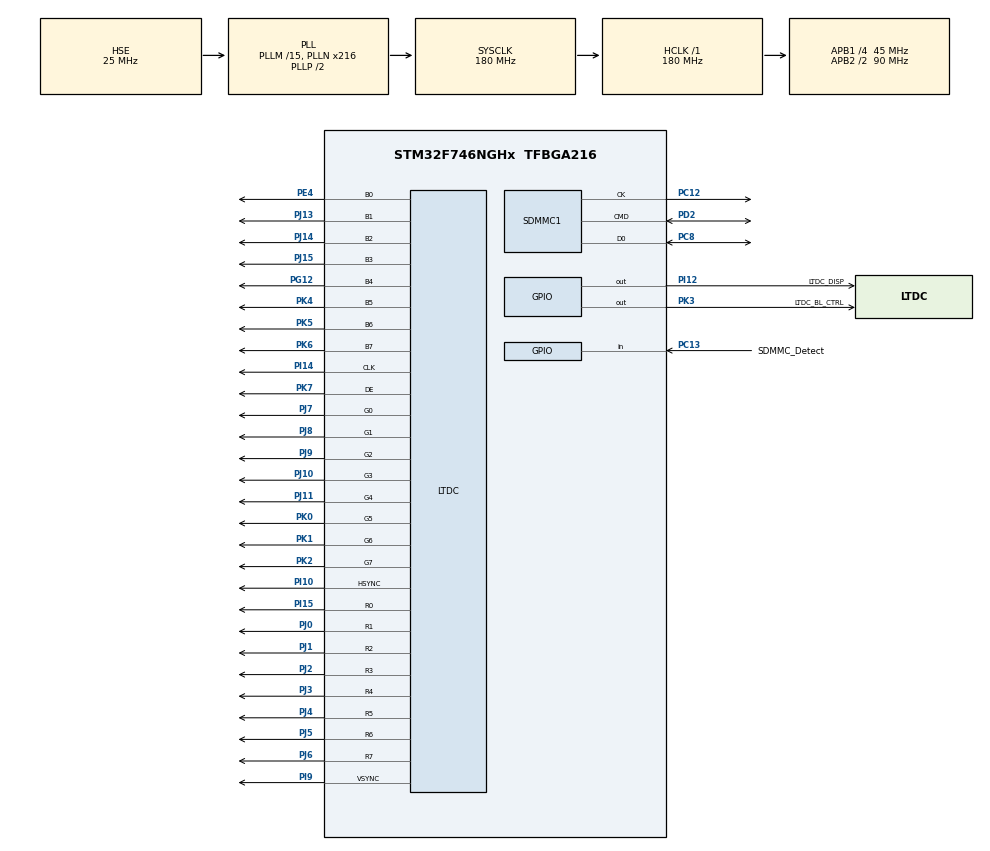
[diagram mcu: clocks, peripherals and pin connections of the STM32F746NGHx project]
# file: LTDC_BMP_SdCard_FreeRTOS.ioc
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Dma.Request0=SDMMC1_RX
Dma.Request1=SDMMC1_TX
Dma.SDMMC1_RX.0.Direction=DMA_PERIPH_TO_MEMORY
Dma.SDMMC1_RX.0.FIFOMode=DMA_FIFOMODE_ENABLE
Dma.SDMMC1_RX.0.FIFOThreshold=DMA_FIFO_THRESHOLD_FULL
Dma.SDMMC1_RX.0.Instance=DMA2_Stream3
Dma.SDMMC1_RX.0.MemBurst=DMA_MBURST_INC4
Dma.SDMMC1_RX.0.MemDataAlignment=DMA_MDATAALIGN_WORD
Dma.SDMMC1_RX.0.MemInc=DMA_MINC_ENABLE
Dma.SDMMC1_RX.0.Mode=DMA_PFCTRL
Dma.SDMMC1_RX.0.PeriphBurst=DMA_PBURST_INC4
Dma.SDMMC1_RX.0.PeriphDataAlignment=DMA_PDATAALIGN_WORD
Dma.SDMMC1_RX.0.PeriphInc=DMA_PINC_DISABLE
Dma.SDMMC1_RX.0.Priority=DMA_PRIORITY_LOW
Dma.SDMMC1_TX.1.Direction=DMA_MEMORY_TO_PERIPH
Dma.SDMMC1_TX.1.FIFOMode=DMA_FIFOMODE_ENABLE
Dma.SDMMC1_TX.1.FIFOThreshold=DMA_FIFO_THRESHOLD_FULL
Dma.SDMMC1_TX.1.Instance=DMA2_Stream6
Dma.SDMMC1_TX.1.MemBurst=DMA_MBURST_INC4
Dma.SDMMC1_TX.1.MemDataAlignment=DMA_MDATAALIGN_WORD
Dma.SDMMC1_TX.1.MemInc=DMA_MINC_ENABLE
Dma.SDMMC1_TX.1.Mode=DMA_PFCTRL
Dma.SDMMC1_TX.1.PeriphBurst=DMA_PBURST_INC4
Dma.SDMMC1_TX.1.PeriphDataAlignment=DMA_PDATAALIGN_WORD
Dma.SDMMC1_TX.1.PeriphInc=DMA_PINC_DISABLE
Dma.SDMMC1_TX.1.Priority=DMA_PRIORITY_LOW
FATFS.BSP.number=1
FATFS.USE_DMA_CODE_SD=1
FATFS._MAX_SS=4096
FATFS0.BSP.STBoard=false
FATFS0.BSP.api=Unknown
FATFS0.BSP.instance=PC13
FATFS0.BSP.ip=GPIO
FATFS0.BSP.mode=Input
FATFS0.BSP.name=Detect_SDIO
FATFS0.BSP.solution=PC13
FREERTOS.Tasks01=defaultTask,0,1024,StartDefaultTask,Default,NULL,Dynamic,NULL,NULL
FREERTOS.configUSE_NEWLIB_REENTRANT=1
LTDC.ActiveH=272
LTDC.ActiveW=480
LTDC.Alpha_L0=255
LTDC.HBP=13
LTDC.HFP=32
LTDC.HSync=41
LTDC.ImageHeight_L0=272
LTDC.ImageWidth_L0=480
LTDC.Layers=0
LTDC.PixelFormat_L0=LTDC_PIXEL_FORMAT_RGB565
LTDC.VSync=10
LTDC.WindowX1_L0=480
LTDC.WindowY1_L0=272
Mcu.Family=STM32F7
Mcu.Name=STM32F746NGHx
Mcu.Package=TFBGA216
NVIC.DMA2_Stream3_IRQn=true\:5\:0\:false\:false\:true\:true\:false\:true\:true
NVIC.DMA2_Stream6_IRQn=true\:5\:0\:false\:false\:true\:true\:false\:true\:true
NVIC.PriorityGroup=NVIC_PRIORITYGROUP_4
NVIC.SDMMC1_IRQn=true\:5\:0\:false\:false\:true\:true\:true\:true\:true
NVIC.TIM8_TRG_COM_TIM14_IRQn=true\:15\:0\:false\:false\:true\:false\:false\:true\:true
NVIC.TimeBase=TIM8_TRG_COM_TIM14_IRQn
NVIC.TimeBaseIP=TIM14
PA13.Mode=Trace_Asynchronous_SW
PA13.Signal=SYS_JTMS-SWDIO
PA14.Mode=Trace_Asynchronous_SW
PA14.Signal=SYS_JTCK-SWCLK
PB3.Mode=Trace_Asynchronous_SW
PB3.Signal=SYS_JTDO-SWO
PC12.Mode=SD_1_bit
PC12.Signal=SDMMC1_CK
PC13.GPIO_Label=SDMMC_Detect
PC13.Signal=GPIO_Input
PC8.Mode=SD_1_bit
PC8.Signal=SDMMC1_D0
PD2.Mode=SD_1_bit
PD2.Signal=SDMMC1_CMD
PE4.GPIO_Speed=GPIO_SPEED_FREQ_HIGH
PE4.Mode=RGB888
PE4.Signal=LTDC_B0
PG12.GPIO_Speed=GPIO_SPEED_FREQ_HIGH
PG12.Mode=RGB888
PG12.Signal=LTDC_B4
PH0/OSC_IN.Mode=HSE-External-Oscillator
PH0/OSC_IN.Signal=RCC_OSC_IN
PH1/OSC_OUT.Mode=HSE-External-Oscillator
PH1/OSC_OUT.Signal=RCC_OSC_OUT
PI10.GPIO_Speed=GPIO_SPEED_FREQ_HIGH
PI10.Mode=RGB888
PI10.Signal=LTDC_HSYNC
PI12.GPIO_Label=LTDC_DISP
PI12.PinState=GPIO_PIN_SET
PI12.Signal=GPIO_Output
PI14.GPIO_Speed=GPIO_SPEED_FREQ_HIGH
PI14.Mode=RGB888
PI14.Signal=LTDC_CLK
PI15.GPIO_Speed=GPIO_SPEED_FREQ_HIGH
PI15.Mode=RGB888
PI15.Signal=LTDC_R0
PI9.GPIO_Speed=GPIO_SPEED_FREQ_HIGH
PI9.Mode=RGB888
PI9.Signal=LTDC_VSYNC
PJ0.GPIO_Speed=GPIO_SPEED_FREQ_HIGH
PJ0.Mode=RGB888
PJ0.Signal=LTDC_R1
PJ1.GPIO_Speed=GPIO_SPEED_FREQ_HIGH
PJ1.Mode=RGB888
PJ1.Signal=LTDC_R2
PJ10.GPIO_Speed=GPIO_SPEED_FREQ_HIGH
PJ10.Mode=RGB888
PJ10.Signal=LTDC_G3
PJ11.GPIO_Speed=GPIO_SPEED_FREQ_HIGH
PJ11.Mode=RGB888
PJ11.Signal=LTDC_G4
PJ13.GPIO_Speed=GPIO_SPEED_FREQ_HIGH
PJ13.Mode=RGB888
PJ13.Signal=LTDC_B1
PJ14.GPIO_Speed=GPIO_SPEED_FREQ_HIGH
PJ14.Mode=RGB888
PJ14.Signal=LTDC_B2
PJ15.GPIO_Speed=GPIO_SPEED_FREQ_HIGH
PJ15.Mode=RGB888
PJ15.Signal=LTDC_B3
PJ2.GPIO_Speed=GPIO_SPEED_FREQ_HIGH
PJ2.Mode=RGB888
PJ2.Signal=LTDC_R3
PJ3.GPIO_Speed=GPIO_SPEED_FREQ_HIGH
PJ3.Mode=RGB888
PJ3.Signal=LTDC_R4
PJ4.GPIO_Speed=GPIO_SPEED_FREQ_HIGH
PJ4.Mode=RGB888
PJ4.Signal=LTDC_R5
PJ5.GPIO_Speed=GPIO_SPEED_FREQ_HIGH
PJ5.Mode=RGB888
PJ5.Signal=LTDC_R6
PJ6.GPIO_Speed=GPIO_SPEED_FREQ_HIGH
PJ6.Mode=RGB888
PJ6.Signal=LTDC_R7
PJ7.GPIO_Speed=GPIO_SPEED_FREQ_HIGH
PJ7.Mode=RGB888
PJ7.Signal=LTDC_G0
PJ8.GPIO_Speed=GPIO_SPEED_FREQ_HIGH
PJ8.Mode=RGB888
PJ8.Signal=LTDC_G1
PJ9.GPIO_Speed=GPIO_SPEED_FREQ_HIGH
PJ9.Mode=RGB888
PJ9.Signal=LTDC_G2
PK0.GPIO_Speed=GPIO_SPEED_FREQ_HIGH
PK0.Mode=RGB888
PK0.Signal=LTDC_G5
PK1.GPIO_Speed=GPIO_SPEED_FREQ_HIGH
PK1.Mode=RGB888
PK1.Signal=LTDC_G6
PK2.GPIO_Speed=GPIO_SPEED_FREQ_HIGH
PK2.Mode=RGB888
PK2.Signal=LTDC_G7
PK3.GPIO_Label=LTDC_BL_CTRL
PK3.PinState=GPIO_PIN_SET
PK3.Signal=GPIO_Output
PK4.GPIO_Speed=GPIO_SPEED_FREQ_HIGH
PK4.Mode=RGB888
PK4.Signal=LTDC_B5
PK5.GPIO_Speed=GPIO_SPEED_FREQ_HIGH
PK5.Mode=RGB888
PK5.Signal=LTDC_B6
PK6.GPIO_Speed=GPIO_SPEED_FREQ_HIGH
PK6.Mode=RGB888
PK6.Signal=LTDC_B7
PK7.GPIO_Speed=GPIO_SPEED_FREQ_HIGH
PK7.Mode=RGB888
PK7.Signal=LTDC_DE
ProjectManager.HeapSize=0x200
ProjectManager.StackSize=0x400
ProjectManager.TargetToolchain=STM32CubeIDE
RCC.AHBFreq_Value=180000000
RCC.APB1CLKDivider=RCC_HCLK_DIV4
RCC.APB1Freq_Value=45000000
RCC.APB1TimFreq_Value=90000000
RCC.APB2CLKDivider=RCC_HCLK_DIV2
RCC.APB2Freq_Value=90000000
RCC.APB2TimFreq_Value=180000000
RCC.CortexFreq_Value=180000000
RCC.HCLKFreq_Value=180000000
RCC.HSE_VALUE=25000000
RCC.HSI_VALUE=16000000
RCC.LSE_VALUE=32768
RCC.PLLM=15
RCC.PLLN=216
RCC.PLLQ=8
RCC.PLLSAIN=60
RCC.PLLSAIR=5
RCC.PLLSourceVirtual=RCC_PLLSOURCE_HSE
RCC.SDMMCClockSelection=RCC_SDMMC1CLKSOURCE_CLK48
RCC.SYSCLKFreq_VALUE=180000000
RCC.SYSCLKSource=RCC_SYSCLKSOURCE_PLLCLK
RCC.USBFreq_Value=45000000
RCC.VCOOutputFreq_Value=360000000
VP_FATFS_VS_SDIO.Mode=SDIO
VP_FREERTOS_VS_CMSIS_V1.Mode=CMSIS_V1
VP_RNG_VS_RNG.Mode=RNG_Activate
VP_SYS_VS_tim14.Mode=TIM14
board=custom

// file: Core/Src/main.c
/* USER CODE BEGIN Header */
/**
  ******************************************************************************
  * @file           : main.c
  * @brief          : Main program body
  ******************************************************************************
  * @attention
  *
  * Copyright (c) 2025 STMicroelectronics.
  * All rights reserved.
  *
  * This software is licensed under terms that can be found in the LICENSE file
  * in the root directory of this software component.
  * If no LICENSE file comes with this software, it is provided AS-IS.
  *
  ******************************************************************************
  */
/* USER CODE END Header */
#include "main.h"
#include "cmsis_os.h"
#include "dma.h"
#include "fatfs.h"
#include "ltdc.h"
#include "rng.h"
#include "sdmmc.h"
#include "gpio.h"

/* USER CODE BEGIN Includes */
#include "MyTFT.h"
#include "SDCard_Configuration.h"
//#include "testImage.h"
/* USER CODE END Includes */

/* USER CODE BEGIN PD */
uint8_t  Debug = 0;
/* USER CODE END PD */

/* USER CODE BEGIN PV */
extern uint16_t imageBuffer[480 * 272];
/* USER CODE END PV */

void SystemClock_Config(void);
void MX_FREERTOS_Init(void);
/* USER CODE BEGIN PFP */
void testLTDC(void);
void testSdCard(void);
void testImage_Show(void);
/* USER CODE END PFP */

/* USER CODE BEGIN 0 */
int _write(int file, char *ptr, int len)
{
	int i = 0;
	for(i = 0; i < len; i++)
	{
		ITM_SendChar(*ptr++);
	}
	return len;
}
/* USER CODE END 0 */

int main(void)
{

  /* MCU Configuration--------------------------------------------------------*/

  /* Reset of all peripherals, Initializes the Flash interface and the Systick. */
  HAL_Init();

  /* Configure the system clock */
  SystemClock_Config();

  /* Initialize all configured peripherals */
  MX_GPIO_Init();
  MX_DMA_Init();
  MX_LTDC_Init();
  MX_SDMMC1_SD_Init();
  MX_FATFS_Init();
  MX_RNG_Init();
  /* USER CODE BEGIN 2 */
  HAL_LTDC_SetAddress(&hltdc, (uint32_t)&imageBuffer, 0);
  TFT_FillScreen((uint32_t)0x0000);
  /* USER CODE END 2 */

  /* Call init function for freertos objects (in cmsis_os2.c) */
  MX_FREERTOS_Init();

  /* Start scheduler */
  osKernelStart();

  /* We should never get here as control is now taken by the scheduler */

  /* Infinite loop */
  while (1)
  {

  }
}

void SystemClock_Config(void)
{
  RCC_OscInitTypeDef RCC_OscInitStruct = {0};
  RCC_ClkInitTypeDef RCC_ClkInitStruct = {0};

  /** Configure the main internal regulator output voltage
  */
  __HAL_RCC_PWR_CLK_ENABLE();
  __HAL_PWR_VOLTAGESCALING_CONFIG(PWR_REGULATOR_VOLTAGE_SCALE1);

  /** Initializes the RCC Oscillators according to the specified parameters
  * in the RCC_OscInitTypeDef structure.
  */
  RCC_OscInitStruct.OscillatorType = RCC_OSCILLATORTYPE_HSE;
  RCC_OscInitStruct.HSEState = RCC_HSE_ON;
  RCC_OscInitStruct.PLL.PLLState = RCC_PLL_ON;
  RCC_OscInitStruct.PLL.PLLSource = RCC_PLLSOURCE_HSE;
  RCC_OscInitStruct.PLL.PLLM = 15;
  RCC_OscInitStruct.PLL.PLLN = 216;
  RCC_OscInitStruct.PLL.PLLP = RCC_PLLP_DIV2;
  RCC_OscInitStruct.PLL.PLLQ = 8;
  if (HAL_RCC_OscConfig(&RCC_OscInitStruct) != HAL_OK)
  {
    Error_Handler();
  }

  /** Initializes the CPU, AHB and APB buses clocks
  */
  RCC_ClkInitStruct.ClockType = RCC_CLOCKTYPE_HCLK|RCC_CLOCKTYPE_SYSCLK
                              |RCC_CLOCKTYPE_PCLK1|RCC_CLOCKTYPE_PCLK2;
  RCC_ClkInitStruct.SYSCLKSource = RCC_SYSCLKSOURCE_PLLCLK;
  RCC_ClkInitStruct.AHBCLKDivider = RCC_SYSCLK_DIV1;
  RCC_ClkInitStruct.APB1CLKDivider = RCC_HCLK_DIV4;
  RCC_ClkInitStruct.APB2CLKDivider = RCC_HCLK_DIV2;

  if (HAL_RCC_ClockConfig(&RCC_ClkInitStruct, FLASH_LATENCY_5) != HAL_OK)
  {
    Error_Handler();
  }
}

/* USER CODE BEGIN 4 */
void testLTDC(void)
{
	for(uint16_t i = 0; i < 25; i++)
	{
		TFT_FillScreen((uint16_t)HAL_RNG_GetRandomNumber(&hrng));
		HAL_Delay(100);
	}

	TFT_FillScreen(0);
	HAL_Delay(1000);

	for(uint16_t i = 0; i < 250; i++)
	{
		TFT_FillRectangle(HAL_RNG_GetRandomNumber(&hrng) % 480,
			HAL_RNG_GetRandomNumber(&hrng) % 272,
			HAL_RNG_GetRandomNumber(&hrng) % 480,
			HAL_RNG_GetRandomNumber(&hrng) % 272,
			(uint16_t)HAL_RNG_GetRandomNumber(&hrng));
		HAL_Delay(10);
	}

	TFT_FillScreen(0);
	HAL_Delay(1000);

	for(uint16_t i = 0; i < 2500; i++)
	{
		for(uint16_t j = 0; j < 25; j++)
		{
			TFT_DrawPixel(HAL_RNG_GetRandomNumber(&hrng) % 480, HAL_RNG_GetRandomNumber(&hrng) % 272, 0);
		}

		TFT_DrawPixel(HAL_RNG_GetRandomNumber(&hrng) % 480, HAL_RNG_GetRandomNumber(&hrng) % 272, (uint16_t)HAL_RNG_GetRandomNumber(&hrng));
		HAL_Delay(1);
	}

	TFT_FillScreen(0);
	HAL_Delay(1000);

	for(uint16_t i = 0; i < 250; i++)
	{
		TFT_DrawLine(HAL_RNG_GetRandomNumber(&hrng) % 480,
			HAL_RNG_GetRandomNumber(&hrng) % 272,
			HAL_RNG_GetRandomNumber(&hrng) % 480,
			HAL_RNG_GetRandomNumber(&hrng) % 272,
			(uint16_t)HAL_RNG_GetRandomNumber(&hrng));
		HAL_Delay(10);
	}

	TFT_FillScreen(0);
	HAL_Delay(1000);
}
// <---- ----------------------------------------- ---->
void testSdCard(void)
{
	char sd_buffer[100];

	Mount_SD(SDPath);
//	Format_SD();
	Check_SD_Space();
	Create_File("MRL.txt");
	sprintf(sd_buffer, "Hello MRL-HSL \n");
	Update_File("MRL.txt", sd_buffer);
	Unmount_SD(SDPath);
}
// <---- ----------------------------------------- ---->
void testImage_Show(void)
{
//	TFT_DrawBitmap(0, 0, image_data_testImage);

	uint16_t* imgData = Read_Bitmap("testImage.bmp");
  if(imgData != NULL)
  {
      TFT_DrawBitmap(0, 0, imgData);
  }
}
/* USER CODE END 4 */

void HAL_TIM_PeriodElapsedCallback(TIM_HandleTypeDef *htim)
{
  if (htim->Instance == TIM14) {
    HAL_IncTick();
  }
}

void Error_Handler(void)
{
  __disable_irq();
  while (1)
  {
  }
}

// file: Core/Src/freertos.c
/* USER CODE BEGIN Header */
/**
  ******************************************************************************
  * File Name          : freertos.c
  * Description        : Code for freertos applications
  ******************************************************************************
  * @attention
  *
  * Copyright (c) 2025 STMicroelectronics.
  * All rights reserved.
  *
  * This software is licensed under terms that can be found in the LICENSE file
  * in the root directory of this software component.
  * If no LICENSE file comes with this software, it is provided AS-IS.
  *
  ******************************************************************************
  */
/* USER CODE END Header */

#include "FreeRTOS.h"
#include "task.h"
#include "main.h"
#include "cmsis_os.h"

/* USER CODE BEGIN Variables */
extern uint8_t Debug;
/* USER CODE END Variables */
osThreadId defaultTaskHandle;

/* USER CODE BEGIN FunctionPrototypes */
extern void testLTDC(void);
extern void testSdCard(void);
extern void testImage_Show(void);
/* USER CODE END FunctionPrototypes */

void StartDefaultTask(void const * argument);

void MX_FREERTOS_Init(void); /* (MISRA C 2004 rule 8.1) */

/* GetIdleTaskMemory prototype (linked to static allocation support) */
void vApplicationGetIdleTaskMemory( StaticTask_t **ppxIdleTaskTCBBuffer, StackType_t **ppxIdleTaskStackBuffer, uint32_t *pulIdleTaskStackSize );

/* USER CODE BEGIN GET_IDLE_TASK_MEMORY */
static StaticTask_t xIdleTaskTCBBuffer;
static StackType_t xIdleStack[configMINIMAL_STACK_SIZE];

void vApplicationGetIdleTaskMemory( StaticTask_t **ppxIdleTaskTCBBuffer, StackType_t **ppxIdleTaskStackBuffer, uint32_t *pulIdleTaskStackSize )
{
  *ppxIdleTaskTCBBuffer = &xIdleTaskTCBBuffer;
  *ppxIdleTaskStackBuffer = &xIdleStack[0];
  *pulIdleTaskStackSize = configMINIMAL_STACK_SIZE;
  /* place for user code */
}
/* USER CODE END GET_IDLE_TASK_MEMORY */

void MX_FREERTOS_Init(void) {

  /* Create the thread(s) */
  /* definition and creation of defaultTask */
  osThreadDef(defaultTask, StartDefaultTask, osPriorityNormal, 0, 1024);
  defaultTaskHandle = osThreadCreate(osThread(defaultTask), NULL);

}

void StartDefaultTask(void const * argument)
{
  /* USER CODE BEGIN StartDefaultTask */
	if(Debug)
	{
		testLTDC();
		testSdCard();
	}
	testImage_Show();
  /* Infinite loop */
  for(;;)
  {
    osDelay(1);
  }
  /* USER CODE END StartDefaultTask */
}
